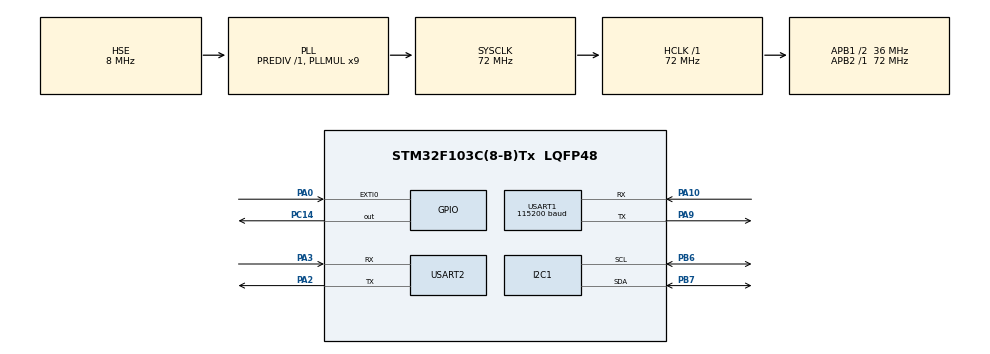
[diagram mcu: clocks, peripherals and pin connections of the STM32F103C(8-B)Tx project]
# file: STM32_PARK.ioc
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Mcu.Family=STM32F1
Mcu.Name=STM32F103C(8-B)Tx
Mcu.Package=LQFP48
NVIC.PriorityGroup=NVIC_PRIORITYGROUP_4
NVIC.USART1_IRQn=true\:0\:0\:false\:false\:true\:true\:true\:true
NVIC.USART2_IRQn=true\:0\:0\:false\:false\:true\:true\:true\:true
PA0-WKUP.GPIO_ModeDefaultEXTI=GPIO_MODE_IT_FALLING
PA0-WKUP.GPIO_PuPd=GPIO_PULLUP
PA0-WKUP.Signal=GPXTI0
PA10.Mode=Asynchronous
PA10.Signal=USART1_RX
PA13.Mode=Serial_Wire
PA13.Signal=SYS_JTMS-SWDIO
PA14.Mode=Serial_Wire
PA14.Signal=SYS_JTCK-SWCLK
PA2.Mode=Asynchronous
PA2.Signal=USART2_TX
PA3.Mode=Asynchronous
PA3.Signal=USART2_RX
PA9.Mode=Asynchronous
PA9.Signal=USART1_TX
PB6.Mode=I2C
PB6.Signal=I2C1_SCL
PB7.Mode=I2C
PB7.Signal=I2C1_SDA
PC14-OSC32_IN.Signal=GPIO_Output
PD0-OSC_IN.Mode=HSE-External-Oscillator
PD0-OSC_IN.Signal=RCC_OSC_IN
PD1-OSC_OUT.Mode=HSE-External-Oscillator
PD1-OSC_OUT.Signal=RCC_OSC_OUT
ProjectManager.HeapSize=0x200
ProjectManager.StackSize=0x400
ProjectManager.TargetToolchain=STM32CubeIDE
RCC.AHBFreq_Value=72000000
RCC.APB1CLKDivider=RCC_HCLK_DIV2
RCC.APB1Freq_Value=36000000
RCC.APB1TimFreq_Value=72000000
RCC.APB2Freq_Value=72000000
RCC.APB2TimFreq_Value=72000000
RCC.HCLKFreq_Value=72000000
RCC.PLLMUL=RCC_PLL_MUL9
RCC.PLLSourceVirtual=RCC_PLLSOURCE_HSE
RCC.SYSCLKFreq_VALUE=72000000
RCC.SYSCLKSource=RCC_SYSCLKSOURCE_PLLCLK
RCC.USBFreq_Value=72000000
USART1.BaudRate=115200
USART1.VirtualMode=VM_ASYNC
USART2.VirtualMode=VM_ASYNC
USART2.WordLength=WORDLENGTH_8B
board=custom

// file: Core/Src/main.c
/* USER CODE BEGIN Header */
/**
  ******************************************************************************
  * @file           : main.c
  * @brief          : VL53L0X + MQTT Integration for STM32F103C8T6
  ******************************************************************************
  */
/* USER CODE END Header */
#include "main.h"

/* USER CODE BEGIN Includes */
#include <stdio.h>
#include <string.h>
#include "vl53l0x.h"
/* USER CODE END Includes */

/* USER CODE BEGIN PD */

// VL53L0X Constants
#define MEASUREMENT_INTERVAL_MS  200
#define DISTANCE_THRESHOLD_NEAR  100
#define DISTANCE_THRESHOLD_FAR   1000

// LED Configuration
#define LED_PIN GPIO_PIN_13
#define LED_PORT GPIOC

// Buzzer Configuration
#define BUZZER_PIN GPIO_PIN_14
#define BUZZER_PORT GPIOC

// WiFi Credentials
#define WIFI_SSID ""
#define WIFI_PASSWORD ""

// MQTT Broker Configuration
#define MQTT_BROKER "broker.hivemq.com"
#define MQTT_PORT 1883
#define MQTT_CLIENT_ID "SPARK_C06"

// MQTT Topics
#define MQTT_SLOT_ID "1"
#define MQTT_TOPIC_BASE "SPARK_C06/isOccupied/"
#define MQTT_TOPIC_PING "SPARK_C06/ping/"
#define MQTT_TOPIC_SLOT MQTT_TOPIC_BASE MQTT_SLOT_ID
#define MQTT_TOPIC_ALARM MQTT_TOPIC_PING MQTT_SLOT_ID  // Subscribe to alarm
#define MQTT_KEYWORD_OCCUPIED "True"
#define MQTT_KEYWORD_EMPTY "False"

// Buffer sizes
#define RX_BUFFER_SIZE 512

// Alarm Time
#define ALARM_DURATION_MS 5000              // 5 seconds alarm duration
#define BUZZER_TOGGLE_INTERVAL_MS 200       // Toggle buzzer every 200ms

/* USER CODE END PD */

I2C_HandleTypeDef hi2c1;

UART_HandleTypeDef huart1;
UART_HandleTypeDef huart2;

/* USER CODE BEGIN PV */
// VL53L0X Variables
VL53L0X_RangingData_t rangingData;
VL53L0X_DeviceInfo_t deviceInfo;
uint16_t distance_mm = 0;

// MQTT Variables
char rx_buffer[RX_BUFFER_SIZE];
volatile uint16_t rx_index = 0;
volatile uint8_t rx_byte;
volatile uint8_t wifi_connected = 0;
volatile uint8_t mqtt_connected = 0;
uint32_t last_ping_time = 0;
uint32_t last_publish_time = 0;

// Parking State Variables
uint8_t spot_occupied = 0;  // 0 = empty, 1 = occupied
uint8_t last_spot_state = 0;

// Alarm Variables
volatile uint8_t alarm_active = 0;          // Whether alarm is currently active
volatile uint32_t alarm_start_time = 0;     // When the alarm started
volatile uint8_t buzzer_state = 0;          // Current state of buzzer (0=off, 1=on)

/* USER CODE END PV */

void SystemClock_Config(void);
static void MX_GPIO_Init(void);
static void MX_USART2_UART_Init(void);
static void MX_USART1_UART_Init(void);
static void MX_I2C1_Init(void);
/* USER CODE BEGIN PFP */
// VL53L0X Functions
void VL53L0X_ProcessRangingData(VL53L0X_RangingData_t *data);
const char* b;

// ESP-01 MQTT Functions
static void send_AT(const char* cmd, uint32_t delay_ms);
static void send_data(uint8_t* data, uint16_t len);
static void wait_for_prompt(void);
static uint8_t ESP01_ConnectWiFi(const char* ssid, const char* password);
static uint8_t ESP01_ConnectMQTTBroker(const char* broker, uint16_t port);
static uint8_t ESP01_Send_MQTT_CONNECT(const char* clientID);
static void ESP01_Send_MQTT_PUBLISH(const char* topic, const char* message);
void ESP01_Send_MQTT_SUBSCRIBE(const char *topic, uint16_t packet_id);
static void ESP01_SendPing(void);
static void Blink_Status(uint8_t count, uint16_t delay);

/* USER CODE END PFP */

/* USER CODE BEGIN 0 */

/**
  * @brief  Retargets printf to UART2
  */
int _write(int file, char *ptr, int len) {
    HAL_UART_Transmit(&huart1, (uint8_t *)ptr, len, HAL_MAX_DELAY);
    return len;
}

/**
  * @brief  Process and display complete ranging data
  */
void VL53L0X_ProcessRangingData(VL53L0X_RangingData_t *data)
{
    printf("Distance: %4d mm", data->range_mm);

    if (data->range_status == 0) {
        printf(" | %.2f cm | Signal: %3d",
               data->range_mm / 10.0f,
               data->signal_rate);

        // Visual indicator
        if (data->range_mm < DISTANCE_THRESHOLD_NEAR) {
            printf(" [VERY CLOSE]");
        } else if (data->range_mm < DISTANCE_THRESHOLD_FAR) {
            printf(" [NEAR]");
        } else {
            printf(" [FAR]");
        }
        printf(" ✓");
    } else {
        printf(" | Status: %s", VL53L0X_GetRangeStatusString(data->range_status));
    }
    printf("\r\n");
}

/**
  * @brief Blink LED for status indication
  */
static void Blink_Status(uint8_t count, uint16_t delay)
{
    for (uint8_t i = 0; i < count; i++)
    {
        HAL_GPIO_WritePin(LED_PORT, LED_PIN, GPIO_PIN_SET);
        HAL_Delay(delay);
        HAL_GPIO_WritePin(LED_PORT, LED_PIN, GPIO_PIN_RESET);
        HAL_Delay(delay);
    }
}

/**
  * @brief Send AT command and wait
  */
static void send_AT(const char* cmd, uint32_t delay_ms)
{
    HAL_UART_AbortReceive_IT(&huart2);
    HAL_UART_Transmit(&huart2, (uint8_t*)cmd, strlen(cmd), HAL_MAX_DELAY);
    HAL_Delay(delay_ms);
    HAL_UART_Receive_IT(&huart2, (uint8_t*)&rx_byte, 1);
}

/**
  * @brief Send raw data to ESP-01
  */
static void send_data(uint8_t* data, uint16_t len)
{
    HAL_UART_AbortReceive_IT(&huart2);
    HAL_UART_Transmit(&huart2, data, len, HAL_MAX_DELAY);
    HAL_Delay(500);
    HAL_UART_Receive_IT(&huart2, (uint8_t*)&rx_byte, 1);
}

void send_and_receive(const char *cmd, uint32_t delay_ms) {
    uint8_t buffer[512] = {0};
    if (cmd) HAL_UART_Transmit(&huart2, (uint8_t*)cmd, strlen(cmd), HAL_MAX_DELAY);
    HAL_Delay(delay_ms);
    /* Try read (timeout kecil biar nggak nge-blok terlalu lama) */
    if (HAL_UART_Receive(&huart2, buffer, sizeof(buffer)-1, 200) == HAL_OK) {
        buffer[sizeof(buffer)-1] = 0;
        printf("ESP_RESP: %s\r\n", buffer);
    }
}

/**
  * @brief Wait for '>' prompt from ESP-01 after AT+CIPSEND
  */
static void wait_for_prompt(void)
{
    HAL_Delay(500);
}

/**
  * @brief Connect ESP-01 to WiFi network
  */
static uint8_t ESP01_ConnectWiFi(const char* ssid, const char* password)
{
    printf("Connecting to WiFi: %s\r\n", ssid);

    rx_index = 0;
    memset(rx_buffer, 0, RX_BUFFER_SIZE);

    send_AT("AT+CWMODE=1\r\n", 1000);
    send_AT("AT+CWQAP\r\n", 1000);
    HAL_Delay(1000);

    rx_index = 0;
    memset(rx_buffer, 0, RX_BUFFER_SIZE);

    char wifiCommand[128];
    snprintf(wifiCommand, sizeof(wifiCommand),
             "AT+CWJAP=\"%s\",\"%s\"\r\n", ssid, password);

    HAL_UART_Transmit(&huart2, (uint8_t*)wifiCommand, strlen(wifiCommand), HAL_MAX_DELAY);

    // Wait for response instead of blocking delay
    uint32_t start_time = HAL_GetTick();
    uint8_t connected = 0;
    const uint32_t timeout = 15000;  // 15 seconds timeout

    printf("Waiting for WiFi response");
    while ((HAL_GetTick() - start_time) < timeout) {
        if (rx_index > 0) {
            if (strstr(rx_buffer, "WIFI GOT IP") ||
                strstr(rx_buffer, "OK")) {
                connected = 1;
                break;
            }
            else if (strstr(rx_buffer, "FAIL") ||
                     strstr(rx_buffer, "ERROR")) {
                connected = 0;
                break;
            }
            // Clear buffer after checking
            rx_index = 0;
            memset(rx_buffer, 0, RX_BUFFER_SIZE);
        }
        HAL_Delay(100);
        printf(".");
    }
    printf("\r\n");

    HAL_GPIO_WritePin(LED_PORT, LED_PIN, GPIO_PIN_RESET);  // Ensure LED off after attempt

    if (connected) {
        wifi_connected = 1;
        printf("WiFi connected!\r\n");
        return 1;
    } else {
        wifi_connected = 0;
        printf("ERROR: WiFi connection failed! Last response: %s\r\n", rx_buffer);
        return 0;
    }
}

/**
  * @brief Connect to MQTT broker via TCP
  */
static uint8_t ESP01_ConnectMQTTBroker(const char* broker, uint16_t port)
{
    printf("Connecting to MQTT broker: %s:%d\r\n", broker, port);

    char cmd[128];

    send_AT("AT+CIPCLOSE\r\n", 1000);

    rx_index = 0;
    memset(rx_buffer, 0, RX_BUFFER_SIZE);

    snprintf(cmd, sizeof(cmd),
             "AT+CIPSTART=\"TCP\",\"%s\",%d\r\n", broker, port);

    HAL_UART_Transmit(&huart2, (uint8_t*)cmd, strlen(cmd), HAL_MAX_DELAY);
    HAL_Delay(6000);

    printf("TCP connection established!\r\n");
    return 1;
}

/**
  * @brief Send MQTT CONNECT packet
  */
static uint8_t ESP01_Send_MQTT_CONNECT(const char* clientID)
{
    printf("Sending MQTT CONNECT...\r\n");

    uint8_t packet[128];
    uint8_t clientID_len = strlen(clientID);
    uint8_t total_len = 10 + 2 + clientID_len;

    uint8_t index = 0;
    packet[index++] = 0x10;
    packet[index++] = total_len;
    packet[index++] = 0x00; packet[index++] = 0x04;
    packet[index++] = 'M'; packet[index++] = 'Q';
    packet[index++] = 'T'; packet[index++] = 'T';
    packet[index++] = 0x04;
    packet[index++] = 0x02;
    packet[index++] = 0x00; packet[index++] = 0x3C;
    packet[index++] = 0x00; packet[index++] = clientID_len;
    memcpy(&packet[index], clientID, clientID_len);
    index += clientID_len;

    rx_index = 0;
    memset(rx_buffer, 0, RX_BUFFER_SIZE);

    char sendCmd[32];
    snprintf(sendCmd, sizeof(sendCmd), "AT+CIPSEND=%d\r\n", index);
    HAL_UART_Transmit(&huart2, (uint8_t*)sendCmd, strlen(sendCmd), HAL_MAX_DELAY);

    wait_for_prompt();

    HAL_UART_Transmit(&huart2, packet, index, HAL_MAX_DELAY);

    // Wait for CONNACK response instead of blocking delay
    uint32_t start_time = HAL_GetTick();
    uint8_t connected = 0;
    const uint32_t timeout = 5000;  // 5 seconds timeout

    printf("Waiting for MQTT CONNACK");
    while ((HAL_GetTick() - start_time) < timeout) {
        if (rx_index > 0) {
            // Check for CONNACK packet (first byte 0x20) or successful ESP response
            if ((rx_index >= 4 && rx_buffer[0] == 0x20 && rx_buffer[3] == 0x00) ||
                strstr(rx_buffer, "OK") ||
                strstr(rx_buffer, "SEND OK")) {
                connected = 1;
                break;
            }
            else if (strstr(rx_buffer, "FAIL") ||
                     strstr(rx_buffer, "ERROR") ||
                     (rx_index >= 4 && rx_buffer[0] == 0x20 && rx_buffer[3] != 0x00)) {
                connected = 0;
                break;
            }
            // Clear buffer after checking to prevent overflow
            rx_index = 0;
            memset(rx_buffer, 0, RX_BUFFER_SIZE);
        }
        HAL_Delay(100);
        printf(".");
    }
    printf("\r\n");

    if (connected) {
        mqtt_connected = 1;
        printf("✅ MQTT connected successfully!\r\n");
        return 1;
    } else {
        mqtt_connected = 0;
        printf("❌ MQTT connection FAILED! Response: %s\r\n", rx_buffer[0] ? rx_buffer : "No response");
        return 0;
    }
}

/**
  * @brief Send MQTT PUBLISH packet
  */
static void ESP01_Send_MQTT_PUBLISH(const char* topic, const char* message)
{
    uint8_t packet[256];
    uint8_t topic_len = strlen(topic);
    uint8_t message_len = strlen(message);

    uint8_t remaining_len = 2 + topic_len + message_len;
    uint8_t index = 0;

    packet[index++] = 0x30;
    packet[index++] = remaining_len;
    packet[index++] = 0x00;
    packet[index++] = topic_len;
    memcpy(&packet[index], topic, topic_len);
    index += topic_len;
    memcpy(&packet[index], message, message_len);
    index += message_len;

    char sendCmd[32];
    snprintf(sendCmd, sizeof(sendCmd), "AT+CIPSEND=%d\r\n", index);
    HAL_UART_Transmit(&huart2, (uint8_t*)sendCmd, strlen(sendCmd), HAL_MAX_DELAY);

    wait_for_prompt();
    send_data(packet, index);

    printf("Published: %s -> %s\r\n", topic, message);
}

void ESP01_Send_MQTT_SUBSCRIBE(const char *topic, uint16_t packet_id) {
    if (!topic) return;
    printf("Subscribing to topic: %s\r\n", topic);

        uint16_t tlen = strlen(topic);
        uint16_t rem_len = 2 + 2 + tlen + 1; // Packet ID + topic length + topic + QoS

        uint8_t pkt[64];
        uint16_t idx = 0;

        // Fixed header (SUBSCRIBE packet type with QoS 1)
        pkt[idx++] = 0x82;  // MQTT SUBSCRIBE packet type
        pkt[idx++] = (uint8_t)rem_len;

        // Packet Identifier
        pkt[idx++] = (uint8_t)((packet_id >> 8) & 0xFF);
        pkt[idx++] = (uint8_t)(packet_id & 0xFF);

        // Topic length
        pkt[idx++] = (uint8_t)((tlen >> 8) & 0xFF);
        pkt[idx++] = (uint8_t)(tlen & 0xFF);

        // Topic string
        memcpy(&pkt[idx], topic, tlen);
        idx += tlen;

        // QoS level (0)
        pkt[idx++] = 0x00;

        // Send command to ESP
        char sendCmd[32];
        snprintf(sendCmd, sizeof(sendCmd), "AT+CIPSEND=%u\r\n", idx);

        // Use consistent communication method
        send_AT(sendCmd, 1000);
        send_data(pkt, idx);

        printf("Subscription packet sent\r\n");

        // Wait for SUBACK response
        HAL_Delay(1000);
        printf("ESP Response Buffer: %s\r\n", rx_buffer); // Debug what we received
}

void process_incoming_messages(void)
{
	// Look for ESP-01 data notification: "+IPD,<len>:<data>"
	    char *ipd_ptr = strstr(rx_buffer, "+IPD");
	    if (ipd_ptr) {
	        // Extract length and data
	        uint16_t data_len = 0;
	        char *len_ptr = strchr(ipd_ptr, ',');
	        if (len_ptr && sscanf(len_ptr+1, "%hu", &data_len) == 1) {
	            char *data_ptr = strchr(ipd_ptr, ':');
	            if (data_ptr && data_len > 0) {
	                data_ptr++; // Skip the colon

	                // Look for MQTT PUBLISH packet (first byte 0x30)
	                if ((uint8_t)data_ptr[0] == 0x30) {
	                    // Parse topic and message
	                    uint8_t topic_len = (data_ptr[2] << 8) | data_ptr[3];
	                    char topic[64] = {0};
	                    char message[64] = {0};

	                    // Extract topic
	                    if (topic_len < sizeof(topic)) {
	                        strncpy(topic, &data_ptr[4], topic_len);
	                        topic[topic_len] = '\0';
	                    }

	                    // Extract message (simplified)
	                    uint8_t msg_len = data_len - 4 - topic_len;
	                    if (msg_len > 0 && msg_len < sizeof(message)) {
	                        strncpy(message, &data_ptr[4 + topic_len], msg_len);
	                        message[msg_len] = '\0';
	                    }

	                    // Handle specific topics - ACTIVATE BUZZER ALARM
	                    if (strstr(topic, MQTT_TOPIC_ALARM)) {
	                        printf("🚨 ALARM ACTIVATED VIA MQTT!\r\n");
	                        printf("Topic: %s | Message: %s\r\n", topic, message);

	                        // Start 5-second buzzer alarm
	                        __disable_irq();
	                        alarm_active = 1;
	                        alarm_start_time = HAL_GetTick();
	                        buzzer_state = 0; // Start with buzzer off
	                        __enable_irq();

	                        // Turn on LED as visual indicator
	                        HAL_GPIO_WritePin(LED_PORT, LED_PIN, GPIO_PIN_SET);
	                    }
	                }
	            }
	        }

	        // Clear buffer after processing
	        rx_index = 0;
	        memset(rx_buffer, 0, RX_BUFFER_SIZE);
	    }
}

void handle_buzzer_alarm(void)
{
    if (!alarm_active) {
        // Ensure buzzer is off when no alarm
        if (buzzer_state != 0) {
            HAL_GPIO_WritePin(BUZZER_PORT, BUZZER_PIN, GPIO_PIN_RESET);
            HAL_GPIO_WritePin(LED_PORT, LED_PIN, GPIO_PIN_RESET);
            buzzer_state = 0;
        }
        return;
    }

    uint32_t current_time = HAL_GetTick();
    uint32_t elapsed_time = current_time - alarm_start_time;

    // Check if alarm duration has elapsed
    if (elapsed_time >= ALARM_DURATION_MS) {
        // Deactivate alarm
        alarm_active = 0;
        HAL_GPIO_WritePin(BUZZER_PORT, BUZZER_PIN, GPIO_PIN_RESET);
        HAL_GPIO_WritePin(LED_PORT, LED_PIN, GPIO_PIN_RESET);
        buzzer_state = 0;
        printf("✅ ALARM DEACTIVATED (5 seconds elapsed)\r\n");
        return;
    }

    // Toggle buzzer at defined interval
    static uint32_t last_toggle_time = 0;
    if ((current_time - last_toggle_time) >= BUZZER_TOGGLE_INTERVAL_MS) {
        last_toggle_time = current_time;

        // Toggle buzzer state
        if (buzzer_state == 0) {
            HAL_GPIO_WritePin(BUZZER_PORT, BUZZER_PIN, GPIO_PIN_SET);
            buzzer_state = 1;
            printf("🔊 BUZZER ON [%lu/%lu ms]\r\n", elapsed_time, ALARM_DURATION_MS);
        } else {
            HAL_GPIO_WritePin(BUZZER_PORT, BUZZER_PIN, GPIO_PIN_RESET);
            buzzer_state = 0;
            printf("🔇 BUZZER OFF [%lu/%lu ms]\r\n", elapsed_time, ALARM_DURATION_MS);
        }
    }
}

/**
  * @brief Send MQTT PINGREQ to keep connection alive
  */
static void ESP01_SendPing(void)
{
    uint8_t ping_packet[2] = {0xC0, 0x00};

    char sendCmd[32];
    snprintf(sendCmd, sizeof(sendCmd), "AT+CIPSEND=%d\r\n", 2);
    HAL_UART_Transmit(&huart2, (uint8_t*)sendCmd, strlen(sendCmd), HAL_MAX_DELAY);

    wait_for_prompt();
    send_data(ping_packet, 2);
}

/**
  * @brief UART receive complete callback
  */
void HAL_UART_RxCpltCallback(UART_HandleTypeDef *huart)
{
    if (huart->Instance == USART2)
    {
        if (rx_index < RX_BUFFER_SIZE - 1)
        {
            rx_buffer[rx_index++] = rx_byte;
            rx_buffer[rx_index] = '\0'; // Null-terminate for string operations
        }
        else
        {
            rx_index = 0;
            memset(rx_buffer, 0, RX_BUFFER_SIZE);
        }

        HAL_UART_Receive_IT(&huart2, (uint8_t*)&rx_byte, 1);
    }
}

/**
  * @brief  GPIO EXTI Callback - VL53L0X interrupt (optional)
  */
void HAL_GPIO_EXTI_Callback(uint16_t GPIO_Pin)
{
    if (GPIO_Pin == GPIO_PIN_0) {
        if (VL53L0X_ReadRangeData(&hi2c1, &rangingData) == VL53L0X_OK) {
            VL53L0X_ClearInterrupt(&hi2c1);
        }
    }
}

/* USER CODE END 0 */

int main(void)
{

  /* USER CODE BEGIN 1 */
  VL53L0X_Status_t vl_status;
  /* USER CODE END 1 */

  /* MCU Configuration--------------------------------------------------------*/

  /* Reset of all peripherals, Initializes the Flash interface and the Systick. */
  HAL_Init();

  /* Configure the system clock */
  SystemClock_Config();

  /* Initialize all configured peripherals */
  MX_GPIO_Init();
  MX_USART2_UART_Init();
  MX_USART1_UART_Init();
  MX_I2C1_Init();
  /* USER CODE BEGIN 2 */

  printf("\r\n\r\n");
  printf("====================================================\r\n");
  printf("   SPARK - SMART PARKING SOLUTION - C06               \r\n");
  printf("====================================================\r\n\r\n");

  // System ready blink
  HAL_UART_Receive_IT(&huart2, (uint8_t*)&rx_byte, 1);
  Blink_Status(3, 200);
  HAL_Delay(2000);

  // Clear RX buffer
  rx_index = 0;
  memset(rx_buffer, 0, RX_BUFFER_SIZE);

  // Disable echo
  send_AT("ATE0\r\n", 500);
  HAL_Delay(500);

  // Connect to WiFi
  while(!wifi_connected) {
	  ESP01_ConnectWiFi(WIFI_SSID, WIFI_PASSWORD);
  }

  // Connect to MQTT Broker
  if (ESP01_ConnectMQTTBroker(MQTT_BROKER, MQTT_PORT))
  {
      HAL_Delay(2000);
  }
  else
  {
      printf("MQTT broker connection failed!\r\n");
      Blink_Status(10, 300);
      while(1) { HAL_Delay(1000); }
  }

  // Send MQTT CONNECT with retry logic
  const uint8_t MAX_MQTT_RETRIES = 5;
  uint8_t mqtt_retry_count = 0;
  uint8_t mqtt_connected_successfully = 0;

  while (mqtt_retry_count < MAX_MQTT_RETRIES && !mqtt_connected_successfully)
  {
      printf("\r\nAttempting MQTT CONNECT (Attempt %d/%d)...\r\n",
             mqtt_retry_count + 1, MAX_MQTT_RETRIES);

      if (ESP01_Send_MQTT_CONNECT(MQTT_CLIENT_ID))
      {
          mqtt_connected_successfully = 1;
          printf("✅ MQTT CONNECT successful on attempt %d!\r\n", mqtt_retry_count + 1);
          Blink_Status(5, 200);  // Success blink pattern
          HAL_Delay(2000);
      }
      else
      {
          mqtt_retry_count++;
          printf("❌ MQTT CONNECT failed on attempt %d\r\n", mqtt_retry_count);

          // Different blink patterns based on retry count
          if (mqtt_retry_count < MAX_MQTT_RETRIES) {
              printf("Waiting 2 seconds before retry...\r\n");
              Blink_Status(mqtt_retry_count, 300);  // Blink count = retry number
              HAL_Delay(2000);
          } else {
              printf("❌ Maximum MQTT connection attempts reached (%d)!\r\n", MAX_MQTT_RETRIES);
              Blink_Status(10, 100);  // Rapid blink for failure
              // Optional: Add a longer delay before resetting or continuing
              HAL_Delay(5000);
          }
      }
  }

  // Handle final failure after all retries
  if (!mqtt_connected_successfully) {
      printf("\r\n!!! CRITICAL: All MQTT connection attempts failed !!!\r\n");
      printf("System will attempt to continue in degraded mode...\r\n");
      printf("Note: No MQTT connectivity - sensor data will not be published\r\n");

      // Instead of infinite loop, continue with degraded functionality
      // You could also reset the system here if preferred:
      // NVIC_SystemReset();

      // Blink continuously to indicate degraded mode
      while (1) {
          HAL_GPIO_TogglePin(LED_PORT, LED_PIN);
          HAL_Delay(500);
      }
  }

  printf("\r\n====================================================\r\n");
  printf("MQTT Setup Complete! Starting VL53L0X...\r\n");
  printf("====================================================\r\n\r\n");

  // Initialize VL53L0X
  printf("Initializing VL53L0X sensor...\r\n");
  while (!VL53L0X_IsDeviceReady(&hi2c1)) {
      printf("ERROR: VL53L0X not detected!\r\n");
      printf("Retrying to find VL53L0X sensor...\r\n");
      HAL_Delay(1000);
      VL53L0X_IsDeviceReady(&hi2c1);

  }

  vl_status = VL53L0X_Init(&hi2c1);
  while (vl_status != VL53L0X_OK) {
      printf("ERROR: VL53L0X initialization failed!\r\n");
      printf("Retrying VL53L0X initialization...\r\n");
      HAL_Delay(1000);
      vl_status = VL53L0X_Init(&hi2c1);

  }
  printf("VL53L0X initialized successfully!\r\n\r\n");

  // Get device info
  if (VL53L0X_GetDeviceInfo(&hi2c1, &deviceInfo) == VL53L0X_OK) {
      printf("Model ID: 0x%02X | Revision: 0x%02X\r\n\r\n",
             deviceInfo.model_id, deviceInfo.revision_id);
  }

  // Configure sensor
  VL53L0X_SetProfile(&hi2c1, VL53L0X_PROFILE_DEFAULT);
  VL53L0X_SetMeasurementTimingBudget(&hi2c1, 200000);
  VL53L0X_ConfigureInterrupt(&hi2c1, true);

  // Start continuous measurement
  vl_status = VL53L0X_StartMeasurement(&hi2c1, VL53L0X_MODE_CONTINUOUS);
  if (vl_status != VL53L0X_OK) {
      printf("ERROR: Failed to start measurement!\r\n");
      while(1);
  }

  printf("System ready! Monitoring parking spot...\r\n");
  printf("====================================================\r\n\r\n");

  send_AT("AT\r\n", 1000);
  printf("AT Response: %s\r\n", rx_buffer);
  ESP01_Send_MQTT_SUBSCRIBE(MQTT_TOPIC_ALARM, 1);
  HAL_Delay(2000);
  printf("After subscribe buffer: %s\r\n", rx_buffer);

  HAL_Delay(200);

  last_ping_time = HAL_GetTick();
  last_publish_time = HAL_GetTick();
  /* USER CODE END 2 */

  /* Infinite loop */
  /* USER CODE BEGIN WHILE */
  while (1)
  {
	  // Handle buzzer alarm if active
	      handle_buzzer_alarm();

	      // Process any incoming MQTT messages
	      if (rx_index > 0) {
	          process_incoming_messages();
	      }

	      HAL_Delay(10); // Small delay for responsiveness

    /* USER CODE END WHILE */

	      /* USER CODE BEGIN 3 */

	      // Read VL53L0X sensor
	      vl_status = VL53L0X_ReadRangeData(&hi2c1, &rangingData);

	      static uint32_t sensor_failure_start_time = 0;  // Track when sensor failures start
	      uint32_t current_time = HAL_GetTick();

	      // Check if we have a valid sensor reading
	      if (vl_status == VL53L0X_OK && rangingData.range_status == 0)
	      {
	          // Valid reading received - reset failure timer
	          sensor_failure_start_time = 0;
	          VL53L0X_ProcessRangingData(&rangingData);

	          // Add 3-second confirmation for occupancy detection
	          static uint32_t occupancy_start_time = 0;

	          if (rangingData.range_mm < DISTANCE_THRESHOLD_FAR) {
	              // Object detected within threshold
	              if (!spot_occupied) {
	                  if (occupancy_start_time == 0) {
	                      // First detection - start timer
	                      occupancy_start_time = current_time;
	                  } else if ((current_time - occupancy_start_time) >= 3000) {
	                      // Confirmed occupancy after 3 seconds of continuous detection
	                      spot_occupied = 1;
	                      printf("\r\n>>> CAR DETECTED! Publishing to MQTT...\r\n");
	                      ESP01_Send_MQTT_PUBLISH(MQTT_TOPIC_SLOT, MQTT_KEYWORD_OCCUPIED);
	                      Blink_Status(3, 100);
	                      printf("\r\n");
	                      occupancy_start_time = 0; // Reset timer
	                  }
	              } else {
	                  // Already occupied - reset timer to prevent overflow
	                  occupancy_start_time = 0;
	              }
	          } else {
	              // No object detected within threshold
	              occupancy_start_time = 0; // Reset timer for next detection

	              if (spot_occupied) {
	                  spot_occupied = 0;
	                  printf("\r\n>>> SPOT CLEARED! Publishing to MQTT...\r\n");
	                  ESP01_Send_MQTT_PUBLISH(MQTT_TOPIC_SLOT, MQTT_KEYWORD_EMPTY);
	                  Blink_Status(2, 150);
	                  printf("\r\n");
	              }
	          }
	      }
	      else
	      {
	          // Invalid sensor reading (error or timeout)
	          printf("Sensor error: vl_status=%d, range_status=%d\r\n", vl_status, rangingData.range_status);

	          // Only start failure timer if spot is currently occupied
	          if (spot_occupied) {
	              if (sensor_failure_start_time == 0) {
	                  // First failure - start timer
	                  sensor_failure_start_time = current_time;
	                  printf("Sensor failure detected. Starting 3-second timer...\r\n");
	              } else if ((current_time - sensor_failure_start_time) >= 3000) {
	                  // Sensor has been failing for 3 seconds while spot is occupied
	                  printf("\r\n>>> SENSOR FAILURE TIMEOUT! Treating spot as empty...\r\n");
	                  spot_occupied = 0;
	                  ESP01_Send_MQTT_PUBLISH(MQTT_TOPIC_SLOT, MQTT_KEYWORD_EMPTY);
	                  Blink_Status(2, 150);
	                  printf("\r\n");
	                  sensor_failure_start_time = 0; // Reset timer
	              }
	          }
	      }

	      VL53L0X_ClearInterrupt(&hi2c1);

    // Send MQTT ping every 30 seconds
    if ((HAL_GetTick() - last_ping_time) >= 30000)
    {
        ESP01_SendPing();
        last_ping_time = HAL_GetTick();
        printf("MQTT ping sent\r\n");
    }

    // Periodic status update every 60 seconds
    if ((HAL_GetTick() - last_publish_time) >= 60000)
    {
        char status_msg[64];
        snprintf(status_msg, sizeof(status_msg), "Spot: %s ",
                 spot_occupied ? "OCCUPIED" : "EMPTY");
        ESP01_Send_MQTT_PUBLISH("SPARK_C06/status", status_msg);
        last_publish_time = HAL_GetTick();
    }
    HAL_Delay(200);
  }
  /* USER CODE END 3 */
}

void SystemClock_Config(void)
{
  RCC_OscInitTypeDef RCC_OscInitStruct = {0};
  RCC_ClkInitTypeDef RCC_ClkInitStruct = {0};

  /** Initializes the RCC Oscillators according to the specified parameters
  * in the RCC_OscInitTypeDef structure.
  */
  RCC_OscInitStruct.OscillatorType = RCC_OSCILLATORTYPE_HSE;
  RCC_OscInitStruct.HSEState = RCC_HSE_ON;
  RCC_OscInitStruct.HSEPredivValue = RCC_HSE_PREDIV_DIV1;
  RCC_OscInitStruct.HSIState = RCC_HSI_ON;
  RCC_OscInitStruct.PLL.PLLState = RCC_PLL_ON;
  RCC_OscInitStruct.PLL.PLLSource = RCC_PLLSOURCE_HSE;
  RCC_OscInitStruct.PLL.PLLMUL = RCC_PLL_MUL9;
  if (HAL_RCC_OscConfig(&RCC_OscInitStruct) != HAL_OK)
  {
    Error_Handler();
  }

  /** Initializes the CPU, AHB and APB buses clocks
  */
  RCC_ClkInitStruct.ClockType = RCC_CLOCKTYPE_HCLK|RCC_CLOCKTYPE_SYSCLK
                              |RCC_CLOCKTYPE_PCLK1|RCC_CLOCKTYPE_PCLK2;
  RCC_ClkInitStruct.SYSCLKSource = RCC_SYSCLKSOURCE_PLLCLK;
  RCC_ClkInitStruct.AHBCLKDivider = RCC_SYSCLK_DIV1;
  RCC_ClkInitStruct.APB1CLKDivider = RCC_HCLK_DIV2;
  RCC_ClkInitStruct.APB2CLKDivider = RCC_HCLK_DIV1;

  if (HAL_RCC_ClockConfig(&RCC_ClkInitStruct, FLASH_LATENCY_2) != HAL_OK)
  {
    Error_Handler();
  }
}

static void MX_I2C1_Init(void)
{

  hi2c1.Instance = I2C1;
  hi2c1.Init.ClockSpeed = 100000;
  hi2c1.Init.DutyCycle = I2C_DUTYCYCLE_2;
  hi2c1.Init.OwnAddress1 = 0;
  hi2c1.Init.AddressingMode = I2C_ADDRESSINGMODE_7BIT;
  hi2c1.Init.DualAddressMode = I2C_DUALADDRESS_DISABLE;
  hi2c1.Init.OwnAddress2 = 0;
  hi2c1.Init.GeneralCallMode = I2C_GENERALCALL_DISABLE;
  hi2c1.Init.NoStretchMode = I2C_NOSTRETCH_DISABLE;
  if (HAL_I2C_Init(&hi2c1) != HAL_OK)
  {
    Error_Handler();
  }

}

static void MX_USART1_UART_Init(void)
{

  huart1.Instance = USART1;
  huart1.Init.BaudRate = 115200;
  huart1.Init.WordLength = UART_WORDLENGTH_8B;
  huart1.Init.StopBits = UART_STOPBITS_1;
  huart1.Init.Parity = UART_PARITY_NONE;
  huart1.Init.Mode = UART_MODE_TX_RX;
  huart1.Init.HwFlowCtl = UART_HWCONTROL_NONE;
  huart1.Init.OverSampling = UART_OVERSAMPLING_16;
  if (HAL_UART_Init(&huart1) != HAL_OK)
  {
    Error_Handler();
  }

}

static void MX_USART2_UART_Init(void)
{

  huart2.Instance = USART2;
  huart2.Init.BaudRate = 115200;
  huart2.Init.WordLength = UART_WORDLENGTH_8B;
  huart2.Init.StopBits = UART_STOPBITS_1;
  huart2.Init.Parity = UART_PARITY_NONE;
  huart2.Init.Mode = UART_MODE_TX_RX;
  huart2.Init.HwFlowCtl = UART_HWCONTROL_NONE;
  huart2.Init.OverSampling = UART_OVERSAMPLING_16;
  if (HAL_UART_Init(&huart2) != HAL_OK)
  {
    Error_Handler();
  }

}

static void MX_GPIO_Init(void)
{
  GPIO_InitTypeDef GPIO_InitStruct = {0};

  /* GPIO Ports Clock Enable */
  __HAL_RCC_GPIOC_CLK_ENABLE();
  __HAL_RCC_GPIOD_CLK_ENABLE();
  __HAL_RCC_GPIOA_CLK_ENABLE();
  __HAL_RCC_GPIOB_CLK_ENABLE();

  /*Configure GPIO pin Output Level */
  HAL_GPIO_WritePin(GPIOC, GPIO_PIN_14, GPIO_PIN_RESET);

  /*Configure GPIO pin : PC14 */
  GPIO_InitStruct.Pin = GPIO_PIN_14;
  GPIO_InitStruct.Mode = GPIO_MODE_OUTPUT_PP;
  GPIO_InitStruct.Pull = GPIO_NOPULL;
  GPIO_InitStruct.Speed = GPIO_SPEED_FREQ_LOW;
  HAL_GPIO_Init(GPIOC, &GPIO_InitStruct);

  /*Configure GPIO pin : PA0 */
  GPIO_InitStruct.Pin = GPIO_PIN_0;
  GPIO_InitStruct.Mode = GPIO_MODE_IT_FALLING;
  GPIO_InitStruct.Pull = GPIO_PULLUP;
  HAL_GPIO_Init(GPIOA, &GPIO_InitStruct);

}

void Error_Handler(void)
{
  __disable_irq();
  while (1)
  {
  }
}
